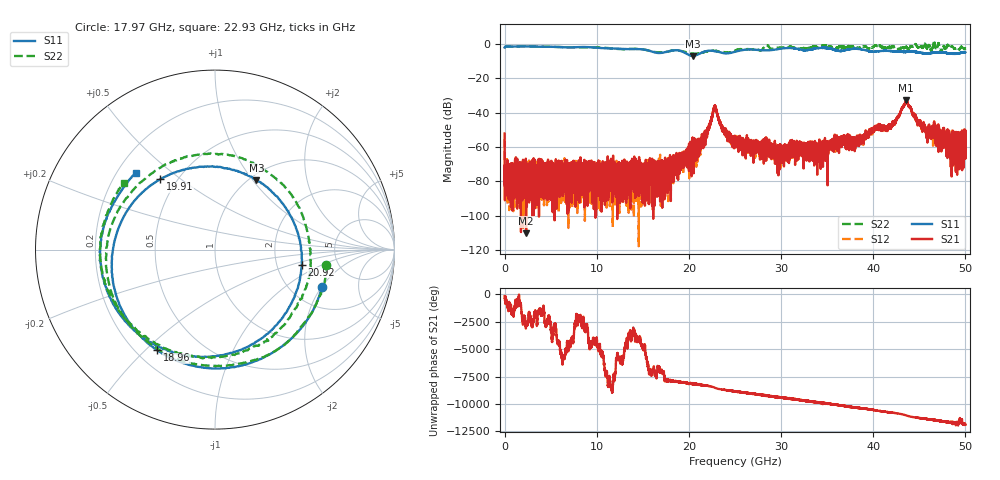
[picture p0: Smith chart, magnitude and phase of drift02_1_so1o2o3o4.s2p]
!Created with skrf (http://scikit-rf.org).
# Hz S RI R 50.0
!freq ReS11 ImS11 ReS21 ImS21 ReS12 ImS12 ReS22 ImS22
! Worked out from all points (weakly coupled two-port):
!   10001 points, 300 kHz to 50 GHz, reference 50 ohm
!   highest |S21| = -32.85 dB at 43.57 GHz (marker M1); lowest = -110.2 dB at 2.335 GHz (marker M2)
!   lowest |S11| = -7.0 dB at 20.4 GHz (marker M3), VSWR 2.63, Z = 53.9 + j52 ohm
!   |S11| at or under -10 dB: nowhere
!   |S22| runs from -5.7 to 2.1 dB; largest |S21 - S12| = 0.0035
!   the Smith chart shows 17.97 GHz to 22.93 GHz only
!   S11 on the Smith chart (normalised r, x): 17.97 GHz: 2.89, -2.02; 18.96 GHz: 0.28, -0.54; 19.91 GHz: 0.41, +0.42; 20.92 GHz: 2.77, -0.61; 22.93 GHz: 0.28, +0.38
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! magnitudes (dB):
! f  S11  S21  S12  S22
! 300 kHz  -2.1  -52.1  -55.1  -2.1
! 255.3 MHz  -1.4  -72.5  -75.2  -1.4
! 2.335 GHz  -1.4  -110.2  -71.3  -1.3
! 8.335 GHz  -1.7  -79.7  -72.4  -1.9
! 16.67 GHz  -5.2  -74.9  -76.4  -4.8
! 17.97 GHz  -4.0  -69.8  -67.7  -4.1
! 18.96 GHz  -3.8  -75.7  -64.7  -3.9
! 19.91 GHz  -6.1  -63.3  -63.3  -5.2
! 20.4 GHz  -7.0  -54.4  -56.6  -5.5
! 20.92 GHz  -6.2  -62.4  -69.8  -5.6
! 22.93 GHz  -4.2  -37.8  -37.3  -4.1
! 23.73 GHz  -5.3  -50.7  -49.9  -4.6
! 25 GHz  -4.5  -58.6  -56.4  -3.9
! 29.5 GHz  -3.1  -62.9  -62.8  -2.0
! 33.34 GHz  -3.1  -60.1  -62.5  -1.5
! 37.98 GHz  -2.8  -60.4  -55.0  -2.1
! 40.4 GHz  -4.3  -49.8  -50.2  -1.1
! 41.67 GHz  -4.0  -47.9  -48.1  -1.9
! 43.57 GHz  -4.4  -32.8  -33.2  -1.7
! 45.6 GHz  -5.5  -49.2  -48.7  0.2
! 49.75 GHz  -4.9  -68.0  -54.8  -2.9
! 50 GHz  -4.8  -66.5  -55.9  -2.6
